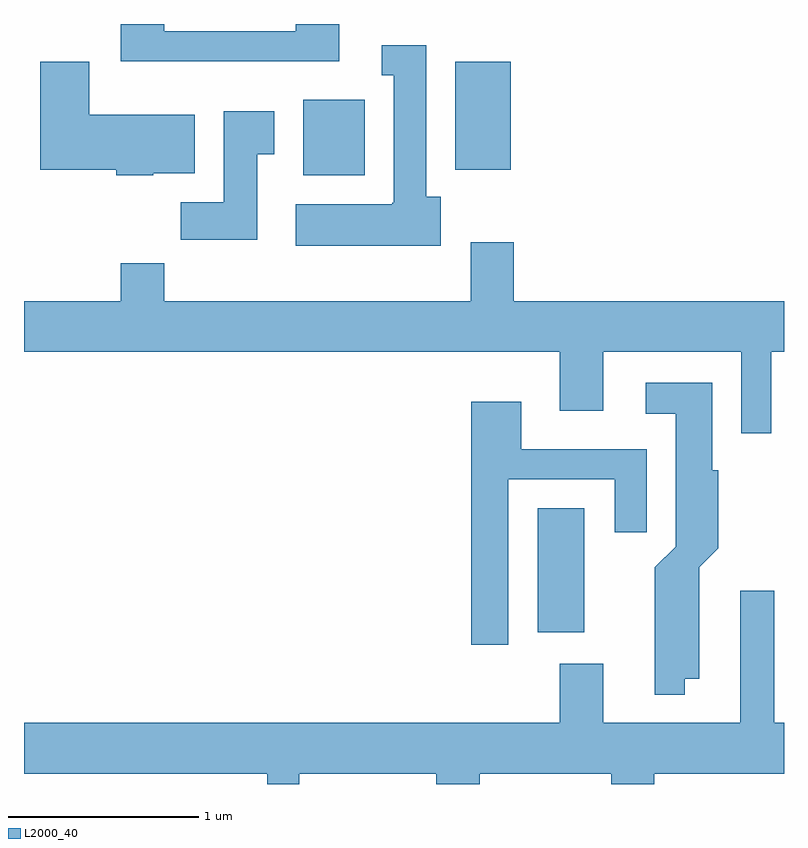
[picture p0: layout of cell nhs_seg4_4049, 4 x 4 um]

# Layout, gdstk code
import gdstk
lib = gdstk.Library(unit=1e-6, precision=1e-09)
def R(c, l, rs):  # rectangles x0, y0, x1, y1
    for r in rs: c.add(gdstk.rectangle(r[:2], r[2:], *l))
def P(c, l, *ps):  # polygons
    for p in ps: c.add(gdstk.Polygon(p, *l))
L2000_40 = (2000, 40)

nhs_seg4_4049 = lib.new_cell('nhs_seg4_4049')
R(nhs_seg4_4049, L2000_40, [(306.316,1328.781,306.559,1329.434), (305.081,1331.186,305.404,1331.584), (305.881,1331.216,306.174,1331.784)])
P(nhs_seg4_4049, L2000_40, [(305.269,1331.982),(305.041,1331.982),(305.041,1331.944),(304.349,1331.944),(304.349,1331.982),(304.121,1331.982),(304.121,1331.786),(305.269,1331.786)],
  [(305.804,1331.074),(305.729,1331.074),(305.729,1331.869),(305.493,1331.869),(305.493,1331.711),(305.556,1331.711),(305.556,1331.04),(305.55,1331.04),(305.55,1331.034),(305.041,1331.034),(305.041,1330.816),(305.804,1330.816)],
  [(304.29,1331.196),(304.509,1331.196),(304.509,1331.504),(303.954,1331.504),(303.954,1331.784),(303.696,1331.784),(303.696,1331.216),(304.096,1331.216),(304.096,1331.186),(304.29,1331.186)],
  [(304.839,1331.296),(304.929,1331.296),(304.929,1331.524),(304.661,1331.524),(304.661,1331.044),(304.436,1331.044),(304.436,1330.846),(304.839,1330.846)],
  [(307.544,1330.256),(307.611,1330.256),(307.611,1330.524),(306.189,1330.524),(306.189,1330.834),(305.961,1330.834),(305.961,1330.524),(304.349,1330.524),(304.349,1330.724),(304.121,1330.724),(304.121,1330.524),(303.611,1330.524),(303.611,1330.256),(306.431,1330.256),(306.431,1329.946),(306.659,1329.946),(306.659,1330.256),(307.386,1330.256),(307.386,1329.828),(307.544,1329.828)],
  [(307.089,1328.536),(307.164,1328.536),(307.164,1329.124),(307.264,1329.224),(307.264,1329.634),(307.234,1329.634),(307.234,1330.094),(306.883,1330.094),(306.883,1329.931),(307.041,1329.931),(307.041,1329.232),(306.931,1329.122),(306.931,1328.453),(307.089,1328.453)],
  [(306.159,1329.586),(306.721,1329.586),(306.721,1329.308),(306.889,1329.308),(306.889,1329.744),(306.229,1329.744),(306.229,1329.994),(305.966,1329.994),(305.966,1328.716),(306.159,1328.716)],
  [(305.059,1328.036),(305.781,1328.036),(305.781,1327.982),(306.009,1327.982),(306.009,1328.036),(306.701,1328.036),(306.701,1327.982),(306.929,1327.982),(306.929,1328.036),(307.611,1328.036),(307.611,1328.304),(307.559,1328.304),(307.559,1328.999),(307.381,1328.999),(307.381,1328.304),(306.659,1328.304),(306.659,1328.614),(306.431,1328.614),(306.431,1328.304),(303.611,1328.304),(303.611,1328.036),(304.891,1328.036),(304.891,1327.982),(305.059,1327.982)])

lib.write_gds('nhs_seg4_4049.gds')
